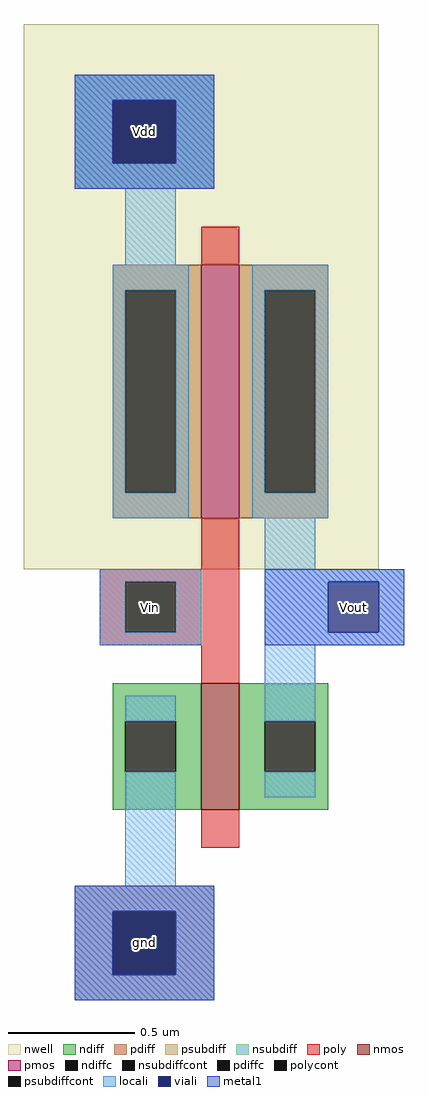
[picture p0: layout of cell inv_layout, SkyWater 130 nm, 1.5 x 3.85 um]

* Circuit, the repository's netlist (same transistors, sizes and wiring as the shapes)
* SPICE3 file created from inv.ext - technology: sky130A

X0 Vout Vin Vdd Vdd sky130_fd_pr__pfet_01v8 ad=0.35 pd=2.7 as=0.35 ps=2.7 w=1 l=0.15
X1 Vout Vin gnd gnd sky130_fd_pr__nfet_01v8 ad=0.175 pd=1.7 as=0.175 ps=1.7 w=0.5 l=0.15

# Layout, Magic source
magic
tech sky130A
<< nwell >>
rect -15 -25 125 190
<< nmos >>
rect 55 -120 70 -70
<< pmos >>
rect 55 -5 70 95
<< ndiff >>
rect 20 -85 55 -70
rect 20 -105 25 -85
rect 45 -105 55 -85
rect 20 -120 55 -105
rect 70 -85 105 -70
rect 70 -105 80 -85
rect 100 -105 105 -85
rect 70 -120 105 -105
<< pdiff >>
rect 20 85 55 95
rect 20 5 25 85
rect 45 5 55 85
rect 20 -5 55 5
rect 70 85 105 95
rect 70 5 80 85
rect 100 5 105 85
rect 70 -5 105 5
<< ndiffc >>
rect 25 -105 45 -85
rect 80 -105 100 -85
<< pdiffc >>
rect 25 5 45 85
rect 80 5 100 85
<< psubdiff >>
rect 5 -160 60 -150
rect 5 -185 20 -160
rect 45 -185 60 -160
rect 5 -195 60 -185
<< nsubdiff >>
rect 5 160 60 170
rect 5 135 20 160
rect 45 135 60 160
rect 5 125 60 135
<< psubdiffcont >>
rect 20 -185 45 -160
<< nsubdiffcont >>
rect 20 135 45 160
<< poly >>
rect 55 95 70 110
rect 55 -25 70 -5
rect 15 -30 70 -25
rect 15 -50 25 -30
rect 45 -50 70 -30
rect 15 -55 70 -50
rect 55 -70 70 -55
rect 55 -135 70 -120
<< polycont >>
rect 25 -50 45 -30
<< locali >>
rect 5 160 60 170
rect 5 135 20 160
rect 45 135 60 160
rect 5 125 60 135
rect 25 95 45 125
rect 20 85 50 95
rect 20 5 25 85
rect 45 5 50 85
rect 20 -5 50 5
rect 75 85 105 95
rect 75 5 80 85
rect 100 5 105 85
rect 75 -5 105 5
rect 80 -25 100 -5
rect 15 -30 55 -25
rect 15 -50 25 -30
rect 45 -50 55 -30
rect 15 -55 55 -50
rect 80 -30 135 -25
rect 80 -50 105 -30
rect 125 -50 135 -30
rect 80 -55 135 -50
rect 25 -85 45 -75
rect 25 -150 45 -105
rect 80 -85 100 -55
rect 80 -115 100 -105
rect 5 -160 60 -150
rect 5 -185 20 -160
rect 45 -185 60 -160
rect 5 -195 60 -185
<< viali >>
rect 20 135 45 160
rect 105 -50 125 -30
rect 20 -185 45 -160
<< metal1 >>
rect 5 160 60 170
rect 5 135 20 160
rect 45 135 60 160
rect 5 125 60 135
rect 80 -30 135 -25
rect 80 -50 105 -30
rect 125 -50 135 -30
rect 80 -55 135 -50
rect 5 -160 60 -150
rect 5 -185 20 -160
rect 45 -185 60 -160
rect 5 -195 60 -185
<< labels >>
rlabel metal1 20 -185 45 -160 1 gnd
rlabel nwell 20 135 45 160 1 Vdd
rlabel viali 105 -50 125 -30 1 Vout
rlabel polycont 25 -50 45 -30 1 Vin
<< end >>
